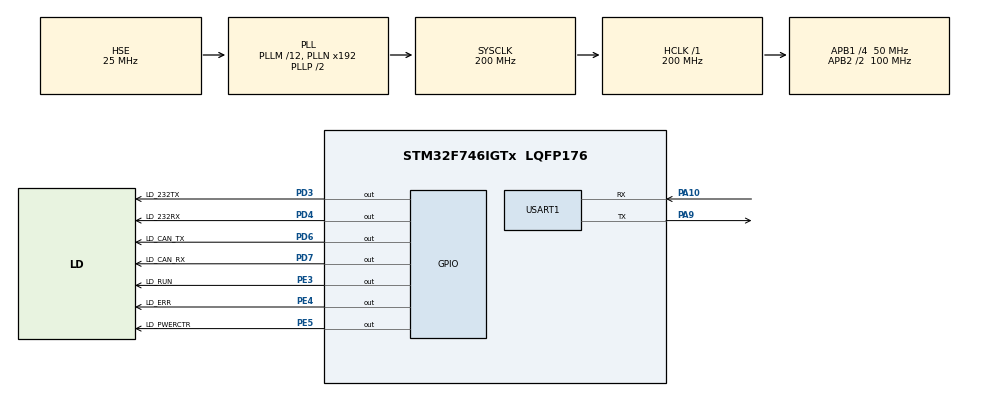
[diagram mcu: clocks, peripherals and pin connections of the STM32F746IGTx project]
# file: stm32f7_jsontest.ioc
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CORTEX_M7.default_mode_Activation=1
Mcu.Family=STM32F7
Mcu.Name=STM32F746IGTx
Mcu.Package=LQFP176
NVIC.PriorityGroup=NVIC_PRIORITYGROUP_4
NVIC.USART1_IRQn=true\:0\:0\:false\:false\:true\:true\:true\:true
PA10.Mode=Asynchronous
PA10.Signal=USART1_RX
PA13.Mode=Trace_Asynchronous_SW
PA13.Signal=SYS_JTMS-SWDIO
PA14.Mode=Trace_Asynchronous_SW
PA14.Signal=SYS_JTCK-SWCLK
PA9.Mode=Asynchronous
PA9.Signal=USART1_TX
PB3.Mode=Trace_Asynchronous_SW
PB3.Signal=SYS_JTDO-SWO
PD3.GPIO_Label=LD_232TX
PD3.GPIO_ModeDefaultOutputPP=GPIO_MODE_OUTPUT_PP
PD3.GPIO_PuPd=GPIO_NOPULL
PD3.Signal=GPIO_Output
PD4.GPIO_Label=LD_232RX
PD4.GPIO_ModeDefaultOutputPP=GPIO_MODE_OUTPUT_PP
PD4.GPIO_PuPd=GPIO_NOPULL
PD4.Signal=GPIO_Output
PD6.GPIO_Label=LD_CAN_TX
PD6.GPIO_ModeDefaultOutputPP=GPIO_MODE_OUTPUT_PP
PD6.GPIO_PuPd=GPIO_NOPULL
PD6.Signal=GPIO_Output
PD7.GPIO_Label=LD_CAN_RX
PD7.GPIO_ModeDefaultOutputPP=GPIO_MODE_OUTPUT_PP
PD7.GPIO_PuPd=GPIO_NOPULL
PD7.Signal=GPIO_Output
PE3.GPIO_Label=LD_RUN
PE3.GPIO_ModeDefaultOutputPP=GPIO_MODE_OUTPUT_PP
PE3.GPIO_PuPd=GPIO_NOPULL
PE3.Signal=GPIO_Output
PE4.GPIO_Label=LD_ERR
PE4.GPIO_ModeDefaultOutputPP=GPIO_MODE_OUTPUT_PP
PE4.GPIO_PuPd=GPIO_NOPULL
PE4.Signal=GPIO_Output
PE5.GPIO_Label=LD_PWERCTR
PE5.GPIO_ModeDefaultOutputPP=GPIO_MODE_OUTPUT_PP
PE5.GPIO_PuPd=GPIO_NOPULL
PE5.Signal=GPIO_Output
PH0/OSC_IN.Mode=HSE-External-Oscillator
PH0/OSC_IN.Signal=RCC_OSC_IN
PH1/OSC_OUT.Mode=HSE-External-Oscillator
PH1/OSC_OUT.Signal=RCC_OSC_OUT
ProjectManager.HeapSize=0x200
ProjectManager.StackSize=0x400
ProjectManager.TargetToolchain=STM32CubeIDE
RCC.AHBFreq_Value=200000000
RCC.APB1CLKDivider=RCC_HCLK_DIV4
RCC.APB1Freq_Value=50000000
RCC.APB1TimFreq_Value=100000000
RCC.APB2CLKDivider=RCC_HCLK_DIV2
RCC.APB2Freq_Value=100000000
RCC.APB2TimFreq_Value=200000000
RCC.CortexFreq_Value=200000000
RCC.HCLKFreq_Value=200000000
RCC.HSE_VALUE=25000000
RCC.HSI_VALUE=16000000
RCC.LSE_VALUE=32768
RCC.PLLM=12
RCC.PLLSourceVirtual=RCC_PLLSOURCE_HSE
RCC.SYSCLKFreq_VALUE=200000000
RCC.SYSCLKSource=RCC_SYSCLKSOURCE_PLLCLK
RCC.USBFreq_Value=200000000
RCC.VCOOutputFreq_Value=400000000
USART1.VirtualMode-Asynchronous=VM_ASYNC
board=custom

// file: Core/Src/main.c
/* USER CODE BEGIN Header */
/**
  ******************************************************************************
  * @file           : main.c
  * @brief          : Main program body
  ******************************************************************************
  * @attention
  *
  * Copyright (c) 2026 STMicroelectronics.
  * All rights reserved.
  *
  * This software is licensed under terms that can be found in the LICENSE file
  * in the root directory of this software component.
  * If no LICENSE file comes with this software, it is provided AS-IS.
  *
  ******************************************************************************
  */
/* USER CODE END Header */
#include "main.h"

/* USER CODE BEGIN Includes */
/******************************************************************************/
/* stm32_json_com: required includes                                          */
#include "uart_queue.h"
#include "binary_com.h"
/******************************************************************************/
#include <string.h>
/* USER CODE END Includes */

UART_HandleTypeDef huart1;

/* USER CODE BEGIN PV */
uint32_t lastToggleTime = 0;

/******************************************************************************/
/* stm32_json_com: context variables                                          */
UART_Context uart_ctx;
BinaryContext bin_ctx;
uint32_t last_bin_tick = 0;
/******************************************************************************/
/* USER CODE END PV */

void SystemClock_Config(void);
static void MPU_Config(void);
static void MX_GPIO_Init(void);
static void MX_USART1_UART_Init(void);

int main(void)
{

  /* MPU Configuration--------------------------------------------------------*/
  MPU_Config();

  /* MCU Configuration--------------------------------------------------------*/

  /* Reset of all peripherals, Initializes the Flash interface and the Systick. */
  HAL_Init();

  /* Configure the system clock */
  SystemClock_Config();

  /* Initialize all configured peripherals */
  MX_GPIO_Init();
  MX_USART1_UART_Init();
  /* USER CODE BEGIN 2 */
  lastToggleTime = HAL_GetTick();

  /***************************************************************************/
  /* stm32_json_com: initialization                                          */
  UART_Queue_Init(&uart_ctx, &huart1);         /* UART 큐 초기화 (huart1)    */
  BIN_COM_Init(&bin_ctx, &uart_ctx, 1);        /* Binary COM 초기화, ID=1    */
  last_bin_tick = HAL_GetTick();
  /***************************************************************************/

  /* USER CODE END 2 */

  /* Infinite loop */
  while (1)
  {

    /* USER CODE BEGIN 3 */
    /*************************************************************************/
    /* stm32_json_com: main loop processing                                  */
    BIN_COM_Process(&bin_ctx);               /* 매 루프: UART 수신 및 처리   */

    uint32_t currentTime = HAL_GetTick();
    if ((currentTime - last_bin_tick) >= 100)
    {
      BIN_COM_Tick(&bin_ctx);               /* 100ms 주기: 타임아웃 처리    */
      last_bin_tick = currentTime;
    }
    /*************************************************************************/

    // LED toggle (every 1000ms)
    if ((currentTime - lastToggleTime) >= 1000)
    {
      HAL_GPIO_TogglePin(LD_RUN_GPIO_Port, LD_RUN_Pin);
      lastToggleTime = currentTime;
    }
  }
  /* USER CODE END 3 */
}

void SystemClock_Config(void)
{
  RCC_OscInitTypeDef RCC_OscInitStruct = {0};
  RCC_ClkInitTypeDef RCC_ClkInitStruct = {0};

  /** Configure the main internal regulator output voltage
  */
  __HAL_RCC_PWR_CLK_ENABLE();
  __HAL_PWR_VOLTAGESCALING_CONFIG(PWR_REGULATOR_VOLTAGE_SCALE1);

  /** Initializes the RCC Oscillators according to the specified parameters
  * in the RCC_OscInitTypeDef structure.
  */
  RCC_OscInitStruct.OscillatorType = RCC_OSCILLATORTYPE_HSE;
  RCC_OscInitStruct.HSEState = RCC_HSE_ON;
  RCC_OscInitStruct.PLL.PLLState = RCC_PLL_ON;
  RCC_OscInitStruct.PLL.PLLSource = RCC_PLLSOURCE_HSE;
  RCC_OscInitStruct.PLL.PLLM = 12;
  RCC_OscInitStruct.PLL.PLLN = 192;
  RCC_OscInitStruct.PLL.PLLP = RCC_PLLP_DIV2;
  RCC_OscInitStruct.PLL.PLLQ = 2;
  if (HAL_RCC_OscConfig(&RCC_OscInitStruct) != HAL_OK)
  {
    Error_Handler();
  }

  /** Activate the Over-Drive mode
  */
  if (HAL_PWREx_EnableOverDrive() != HAL_OK)
  {
    Error_Handler();
  }

  /** Initializes the CPU, AHB and APB buses clocks
  */
  RCC_ClkInitStruct.ClockType = RCC_CLOCKTYPE_HCLK|RCC_CLOCKTYPE_SYSCLK
                              |RCC_CLOCKTYPE_PCLK1|RCC_CLOCKTYPE_PCLK2;
  RCC_ClkInitStruct.SYSCLKSource = RCC_SYSCLKSOURCE_PLLCLK;
  RCC_ClkInitStruct.AHBCLKDivider = RCC_SYSCLK_DIV1;
  RCC_ClkInitStruct.APB1CLKDivider = RCC_HCLK_DIV4;
  RCC_ClkInitStruct.APB2CLKDivider = RCC_HCLK_DIV2;

  if (HAL_RCC_ClockConfig(&RCC_ClkInitStruct, FLASH_LATENCY_6) != HAL_OK)
  {
    Error_Handler();
  }
}

static void MX_USART1_UART_Init(void)
{

  huart1.Instance = USART1;
  huart1.Init.BaudRate = 115200;
  huart1.Init.WordLength = UART_WORDLENGTH_8B;
  huart1.Init.StopBits = UART_STOPBITS_1;
  huart1.Init.Parity = UART_PARITY_NONE;
  huart1.Init.Mode = UART_MODE_TX_RX;
  huart1.Init.HwFlowCtl = UART_HWCONTROL_NONE;
  huart1.Init.OverSampling = UART_OVERSAMPLING_16;
  huart1.Init.OneBitSampling = UART_ONE_BIT_SAMPLE_DISABLE;
  huart1.AdvancedInit.AdvFeatureInit = UART_ADVFEATURE_NO_INIT;
  if (HAL_UART_Init(&huart1) != HAL_OK)
  {
    Error_Handler();
  }

}

static void MX_GPIO_Init(void)
{
  GPIO_InitTypeDef GPIO_InitStruct = {0};

  /* GPIO Ports Clock Enable */
  __HAL_RCC_GPIOE_CLK_ENABLE();
  __HAL_RCC_GPIOH_CLK_ENABLE();
  __HAL_RCC_GPIOA_CLK_ENABLE();
  __HAL_RCC_GPIOD_CLK_ENABLE();
  __HAL_RCC_GPIOB_CLK_ENABLE();

  /*Configure GPIO pin Output Level */
  HAL_GPIO_WritePin(GPIOE, LD_RUN_Pin|LD_ERR_Pin|LD_PWERCTR_Pin, GPIO_PIN_RESET);

  /*Configure GPIO pin Output Level */
  HAL_GPIO_WritePin(GPIOD, LD_232TX_Pin|LD_232RX_Pin|LD_CAN_TX_Pin|LD_CAN_RX_Pin, GPIO_PIN_RESET);

  /*Configure GPIO pins : LD_RUN_Pin LD_ERR_Pin LD_PWERCTR_Pin */
  GPIO_InitStruct.Pin = LD_RUN_Pin|LD_ERR_Pin|LD_PWERCTR_Pin;
  GPIO_InitStruct.Mode = GPIO_MODE_OUTPUT_PP;
  GPIO_InitStruct.Pull = GPIO_NOPULL;
  GPIO_InitStruct.Speed = GPIO_SPEED_FREQ_LOW;
  HAL_GPIO_Init(GPIOE, &GPIO_InitStruct);

  /*Configure GPIO pins : LD_232TX_Pin LD_232RX_Pin LD_CAN_TX_Pin LD_CAN_RX_Pin */
  GPIO_InitStruct.Pin = LD_232TX_Pin|LD_232RX_Pin|LD_CAN_TX_Pin|LD_CAN_RX_Pin;
  GPIO_InitStruct.Mode = GPIO_MODE_OUTPUT_PP;
  GPIO_InitStruct.Pull = GPIO_NOPULL;
  GPIO_InitStruct.Speed = GPIO_SPEED_FREQ_LOW;
  HAL_GPIO_Init(GPIOD, &GPIO_InitStruct);

}

 /* MPU Configuration */

void MPU_Config(void)
{
  MPU_Region_InitTypeDef MPU_InitStruct = {0};

  /* Disables the MPU */
  HAL_MPU_Disable();

  /** Initializes and configures the Region and the memory to be protected
  */
  MPU_InitStruct.Enable = MPU_REGION_ENABLE;
  MPU_InitStruct.Number = MPU_REGION_NUMBER0;
  MPU_InitStruct.BaseAddress = 0x0;
  MPU_InitStruct.Size = MPU_REGION_SIZE_4GB;
  MPU_InitStruct.SubRegionDisable = 0x87;
  MPU_InitStruct.TypeExtField = MPU_TEX_LEVEL0;
  MPU_InitStruct.AccessPermission = MPU_REGION_NO_ACCESS;
  MPU_InitStruct.DisableExec = MPU_INSTRUCTION_ACCESS_DISABLE;
  MPU_InitStruct.IsShareable = MPU_ACCESS_SHAREABLE;
  MPU_InitStruct.IsCacheable = MPU_ACCESS_NOT_CACHEABLE;
  MPU_InitStruct.IsBufferable = MPU_ACCESS_NOT_BUFFERABLE;

  HAL_MPU_ConfigRegion(&MPU_InitStruct);
  /* Enables the MPU */
  HAL_MPU_Enable(MPU_PRIVILEGED_DEFAULT);

}

void Error_Handler(void)
{
  __disable_irq();
  while (1)
  {
  }
}
